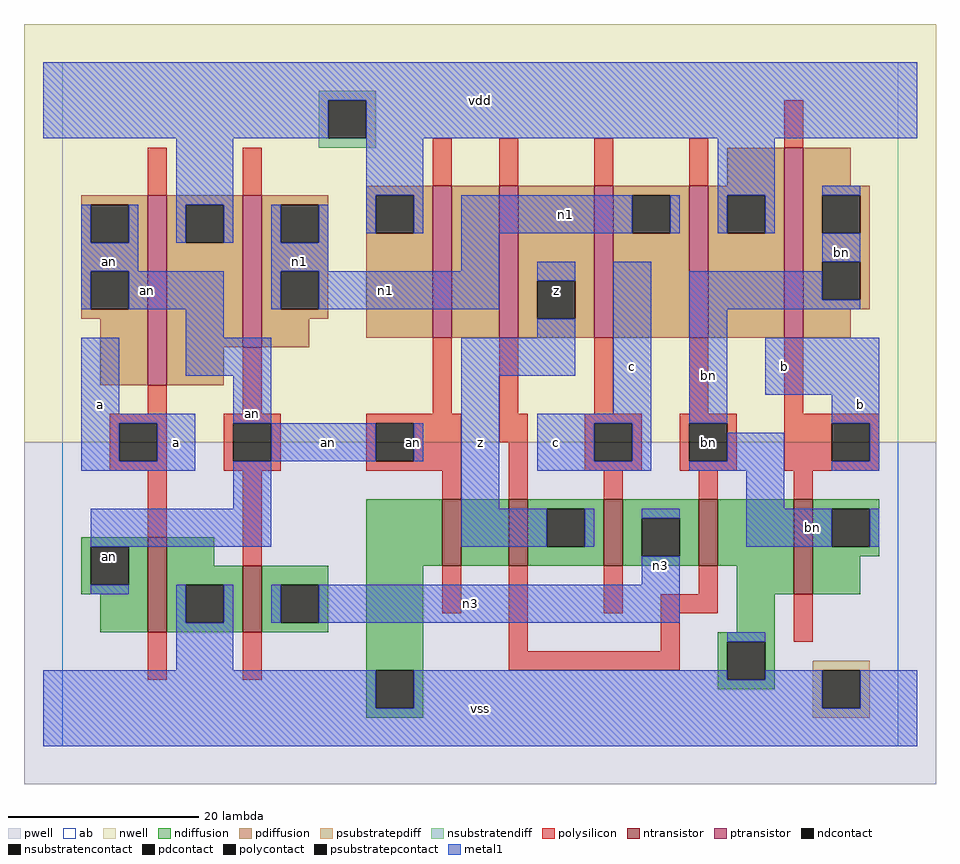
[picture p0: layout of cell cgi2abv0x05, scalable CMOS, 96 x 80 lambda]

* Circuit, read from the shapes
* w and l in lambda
.subckt cgi2abv0x05 a an b bn c n1 n3 vdd vss z
M1 vss a an vss nfet w=10 l=2
M2 n3 an vss vss nfet w=7 l=2
M3 n2 an vss vss nfet w=7 l=2
M4 z bn n2 vss nfet w=7 l=2
M5 n3 c z vss nfet w=7 l=2
M6 vss bn n3 vss nfet w=7 l=2
M7 bn b vss vss nfet w=10 l=2
M8 vdd a an vdd pfet w=20 l=2
M9 n1 an vdd vdd pfet w=16 l=2
M10 n4 an vdd vdd pfet w=16 l=2
M11 z bn n4 vdd pfet w=16 l=2
M12 n1 c z vdd pfet w=16 l=2
M13 vdd bn n1 vdd pfet w=16 l=2
M14 bn b vdd vdd pfet w=20 l=2
.ends

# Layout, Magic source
magic
tech scmos
<< ab >>
rect 0 0 88 72
<< pwell >>
rect -4 -4 92 32
<< nwell >>
rect -4 32 92 76
<< polysilicon >>
rect 9 58 11 63
rect 19 58 21 63
rect 39 59 41 64
rect 46 59 48 64
rect 56 59 58 64
rect 66 59 68 64
rect 76 63 78 68
rect 9 35 11 38
rect 19 35 21 42
rect 39 35 41 43
rect 46 35 48 43
rect 56 35 58 43
rect 66 35 68 43
rect 76 35 78 43
rect 5 34 11 35
rect 5 30 6 34
rect 10 30 11 34
rect 5 29 11 30
rect 17 34 23 35
rect 17 30 18 34
rect 22 30 23 34
rect 17 29 23 30
rect 32 34 42 35
rect 32 30 33 34
rect 37 30 42 34
rect 46 32 49 35
rect 32 29 42 30
rect 9 22 11 29
rect 19 19 21 29
rect 40 26 42 29
rect 47 26 49 32
rect 55 34 61 35
rect 55 30 56 34
rect 60 30 61 34
rect 55 29 61 30
rect 65 34 71 35
rect 65 30 66 34
rect 70 30 71 34
rect 65 29 71 30
rect 76 34 86 35
rect 76 30 81 34
rect 85 30 86 34
rect 76 29 86 30
rect 57 26 59 29
rect 67 26 69 29
rect 77 26 79 29
rect 9 7 11 12
rect 19 7 21 12
rect 40 14 42 19
rect 47 10 49 19
rect 57 14 59 19
rect 67 16 69 19
rect 63 14 69 16
rect 63 10 65 14
rect 47 8 65 10
rect 77 11 79 16
<< ndiffusion >>
rect 2 21 9 22
rect 2 17 3 21
rect 7 17 9 21
rect 2 16 9 17
rect 4 12 9 16
rect 11 19 16 22
rect 32 19 40 26
rect 42 19 47 26
rect 49 25 57 26
rect 49 21 51 25
rect 55 21 57 25
rect 49 19 57 21
rect 59 24 67 26
rect 59 20 61 24
rect 65 20 67 24
rect 59 19 67 20
rect 69 19 77 26
rect 11 17 19 19
rect 11 13 13 17
rect 17 13 19 17
rect 11 12 19 13
rect 21 17 28 19
rect 21 13 23 17
rect 27 13 28 17
rect 21 12 28 13
rect 32 8 38 19
rect 71 16 77 19
rect 79 25 86 26
rect 79 21 81 25
rect 85 21 86 25
rect 79 20 86 21
rect 79 16 84 20
rect 71 12 75 16
rect 69 11 75 12
rect 32 4 33 8
rect 37 4 38 8
rect 69 7 70 11
rect 74 7 75 11
rect 69 6 75 7
rect 32 3 38 4
<< pdiffusion >>
rect 70 59 76 63
rect 32 58 39 59
rect 2 57 9 58
rect 2 53 3 57
rect 7 53 9 57
rect 2 50 9 53
rect 2 46 3 50
rect 7 46 9 50
rect 2 45 9 46
rect 4 38 9 45
rect 11 57 19 58
rect 11 53 13 57
rect 17 53 19 57
rect 11 42 19 53
rect 21 57 28 58
rect 21 53 23 57
rect 27 53 28 57
rect 21 50 28 53
rect 21 46 23 50
rect 27 46 28 50
rect 21 45 28 46
rect 32 54 33 58
rect 37 54 39 58
rect 21 42 26 45
rect 32 43 39 54
rect 41 43 46 59
rect 48 49 56 59
rect 48 45 50 49
rect 54 45 56 49
rect 48 43 56 45
rect 58 58 66 59
rect 58 54 60 58
rect 64 54 66 58
rect 58 43 66 54
rect 68 58 76 59
rect 68 54 70 58
rect 74 54 76 58
rect 68 43 76 54
rect 78 59 83 63
rect 78 58 85 59
rect 78 54 80 58
rect 84 54 85 58
rect 78 51 85 54
rect 78 47 80 51
rect 84 47 85 51
rect 78 46 85 47
rect 78 43 83 46
rect 11 38 17 42
<< metal1 >>
rect -2 68 90 72
rect -2 64 28 68
rect 32 64 90 68
rect 12 57 18 64
rect 32 58 38 64
rect 69 58 75 64
rect 2 53 3 57
rect 7 53 8 57
rect 12 53 13 57
rect 17 53 18 57
rect 22 53 23 57
rect 27 53 28 57
rect 32 54 33 58
rect 37 54 38 58
rect 42 54 60 58
rect 64 54 65 58
rect 69 54 70 58
rect 74 54 75 58
rect 80 58 84 59
rect 2 50 8 53
rect 22 50 28 53
rect 42 50 46 54
rect 80 51 84 54
rect 2 46 3 50
rect 7 46 17 50
rect 22 46 23 50
rect 27 46 46 50
rect 50 49 54 51
rect 13 43 17 46
rect 50 43 54 45
rect 2 35 6 43
rect 13 39 22 43
rect 2 34 14 35
rect 2 30 6 34
rect 10 30 14 34
rect 2 29 14 30
rect 18 34 22 39
rect 42 39 54 43
rect 22 30 33 34
rect 37 30 38 34
rect 18 25 22 30
rect 3 21 22 25
rect 42 25 46 39
rect 58 35 62 51
rect 50 34 62 35
rect 50 30 56 34
rect 60 30 62 34
rect 50 29 62 30
rect 66 47 80 50
rect 66 46 84 47
rect 66 34 70 46
rect 74 37 86 43
rect 81 34 86 37
rect 70 30 76 33
rect 66 29 76 30
rect 85 30 86 34
rect 81 29 86 30
rect 72 25 76 29
rect 42 21 51 25
rect 55 21 56 25
rect 61 24 65 25
rect 72 21 81 25
rect 85 21 86 25
rect 61 17 65 20
rect 3 16 7 17
rect 12 13 13 17
rect 17 13 18 17
rect 22 13 23 17
rect 27 13 65 17
rect 12 8 18 13
rect 70 11 74 12
rect -2 4 33 8
rect 37 7 70 8
rect 74 7 80 8
rect 37 4 80 7
rect 84 4 90 8
rect -2 0 90 4
<< ntransistor >>
rect 9 12 11 22
rect 40 19 42 26
rect 47 19 49 26
rect 57 19 59 26
rect 67 19 69 26
rect 19 12 21 19
rect 77 16 79 26
<< ptransistor >>
rect 9 38 11 58
rect 19 42 21 58
rect 39 43 41 59
rect 46 43 48 59
rect 56 43 58 59
rect 66 43 68 59
rect 76 43 78 63
<< polycontact >>
rect 6 30 10 34
rect 18 30 22 34
rect 33 30 37 34
rect 56 30 60 34
rect 66 30 70 34
rect 81 30 85 34
<< ndcontact >>
rect 3 17 7 21
rect 51 21 55 25
rect 61 20 65 24
rect 13 13 17 17
rect 23 13 27 17
rect 81 21 85 25
rect 33 4 37 8
rect 70 7 74 11
<< pdcontact >>
rect 3 53 7 57
rect 3 46 7 50
rect 13 53 17 57
rect 23 53 27 57
rect 23 46 27 50
rect 33 54 37 58
rect 50 45 54 49
rect 60 54 64 58
rect 70 54 74 58
rect 80 54 84 58
rect 80 47 84 51
<< psubstratepcontact >>
rect 80 4 84 8
<< nsubstratencontact >>
rect 28 64 32 68
<< psubstratepdiff >>
rect 79 8 85 9
rect 79 4 80 8
rect 84 4 85 8
rect 79 3 85 4
<< nsubstratendiff >>
rect 27 68 33 69
rect 27 64 28 68
rect 32 64 33 68
rect 27 63 33 64
<< labels >>
rlabel polysilicon 20 35 20 35 6 an
rlabel polysilicon 37 32 37 32 6 an
rlabel polycontact 68 32 68 32 6 bn
rlabel ndcontact 5 20 5 20 6 an
rlabel metal1 12 32 12 32 6 a
rlabel metal1 4 36 4 36 6 a
rlabel metal1 5 51 5 51 6 an
rlabel metal1 9 48 9 48 6 an
rlabel metal1 25 51 25 51 6 n1
rlabel metal1 44 4 44 4 6 vss
rlabel metal1 44 32 44 32 6 z
rlabel metal1 28 32 28 32 6 an
rlabel metal1 34 48 34 48 6 n1
rlabel metal1 44 68 44 68 6 vdd
rlabel metal1 63 19 63 19 6 n3
rlabel metal1 43 15 43 15 6 n3
rlabel metal1 52 32 52 32 6 c
rlabel metal1 60 40 60 40 6 c
rlabel metal1 68 39 68 39 6 bn
rlabel pdcontact 52 48 52 48 6 z
rlabel metal1 53 56 53 56 6 n1
rlabel metal1 79 23 79 23 6 bn
rlabel metal1 84 36 84 36 6 b
rlabel metal1 76 40 76 40 6 b
rlabel metal1 82 52 82 52 6 bn
<< end >>
